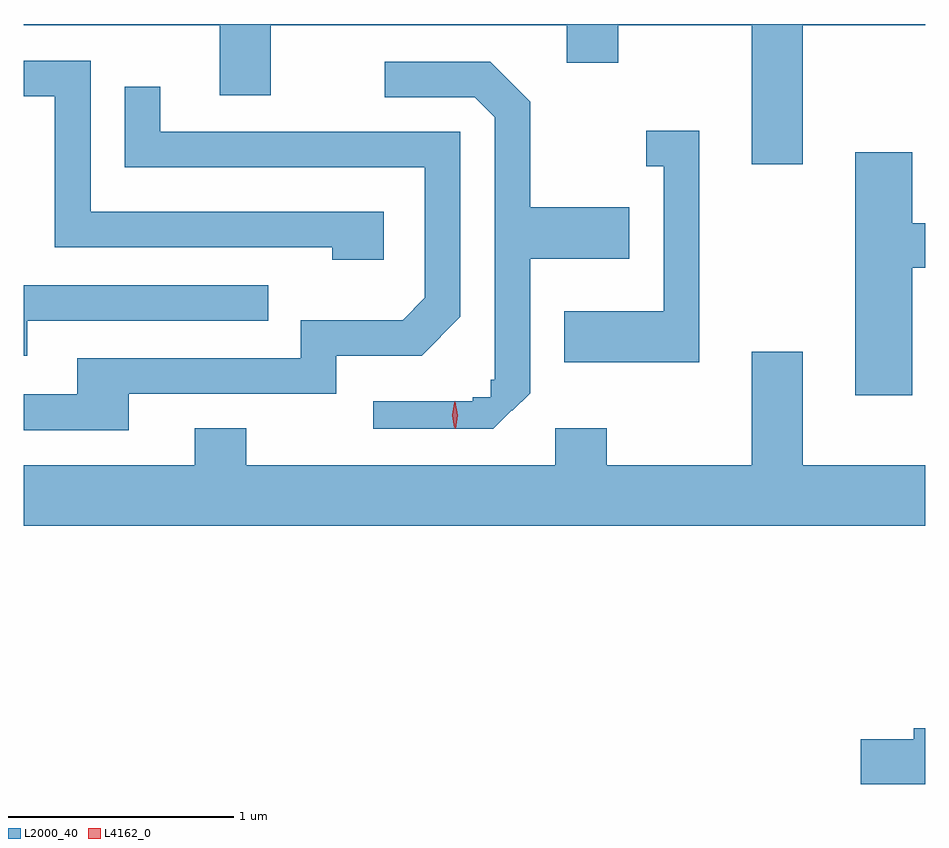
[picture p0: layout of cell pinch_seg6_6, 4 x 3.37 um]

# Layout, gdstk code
import gdstk
lib = gdstk.Library(unit=1e-6, precision=1e-09)
def P(c, l, *ps):  # polygons
    for p in ps: c.add(gdstk.Polygon(p, *l))
L2000_40 = (2000, 40)
L4162_0 = (4162, 0)

pinch_seg6_6 = lib.new_cell('pinch_seg6_6')
P(pinch_seg6_6, L2000_40, [(839.939,1567.796),(840.482,1567.796),(840.482,1567.802),(836.482,1567.802),(836.482,1567.796),(837.351,1567.796),(837.351,1567.486),(837.579,1567.486),(837.579,1567.796),(838.891,1567.796),(838.891,1567.631),(839.119,1567.631),(839.119,1567.796),(839.711,1567.796),(839.711,1567.181),(839.939,1567.181)],
  [(838.079,1566.969),(836.779,1566.969),(836.779,1567.639),(836.482,1567.639),(836.482,1567.481),(836.621,1567.481),(836.621,1566.811),(837.851,1566.811),(837.851,1566.756),(838.079,1566.756)],
  [(838.647,1566.088),(838.65,1566.086),(838.729,1566.165),(838.729,1566.761),(839.169,1566.761),(839.169,1566.989),(838.729,1566.989),(838.729,1567.457),(838.552,1567.634),(838.083,1567.634),(838.083,1567.476),(838.484,1567.476),(838.571,1567.389),(838.571,1566.224),(838.553,1566.224),(838.553,1566.147),(838.475,1566.147),(838.475,1566.128),(838.033,1566.128),(838.033,1566.006),(838.565,1566.006)],
  [(836.949,1566.161),(837.869,1566.161),(837.869,1566.331),(838.247,1566.331),(838.419,1566.504),(838.419,1567.324),(837.089,1567.324),(837.089,1567.523),(836.931,1567.523),(836.931,1567.166),(838.261,1567.166),(838.261,1566.587),(838.164,1566.489),(837.711,1566.489),(837.711,1566.319),(836.721,1566.319),(836.721,1566.159),(836.482,1566.159),(836.482,1566.001),(836.949,1566.001)],
  [(839.479,1567.329),(839.243,1567.329),(839.243,1567.171),(839.321,1567.171),(839.321,1566.529),(838.881,1566.529),(838.881,1566.301),(839.479,1566.301)],
  [(840.424,1566.721),(840.482,1566.721),(840.482,1566.919),(840.424,1566.919),(840.424,1567.234),(840.171,1567.234),(840.171,1566.156),(840.424,1566.156)],
  [(836.499,1566.486),(837.568,1566.486),(837.568,1566.644),(836.482,1566.644),(836.482,1566.331),(836.499,1566.331)],
  [(840.482,1565.844),(839.939,1565.844),(839.939,1566.349),(839.711,1566.349),(839.711,1565.844),(839.069,1565.844),(839.069,1566.009),(838.841,1566.009),(838.841,1565.844),(837.469,1565.844),(837.469,1566.009),(837.241,1566.009),(837.241,1565.844),(836.482,1565.844),(836.482,1565.576),(840.482,1565.576)],
  [(840.482,1564.679),(840.431,1564.679),(840.431,1564.629),(840.196,1564.629),(840.196,1564.431),(840.482,1564.431)])
P(pinch_seg6_6, L4162_0, [(838.392,1566.011),(838.383,1566.067),(838.393,1566.122),(838.393,1566.123),(838.394,1566.122),(838.403,1566.067),(838.393,1566.011),(838.393,1566.011)],
  [(838.397,1566.007),(838.387,1566.067),(838.395,1566.127),(838.396,1566.127),(838.396,1566.127),(838.407,1566.067),(838.398,1566.007),(838.398,1566.007)])

lib.write_gds('pinch_seg6_6.gds')
